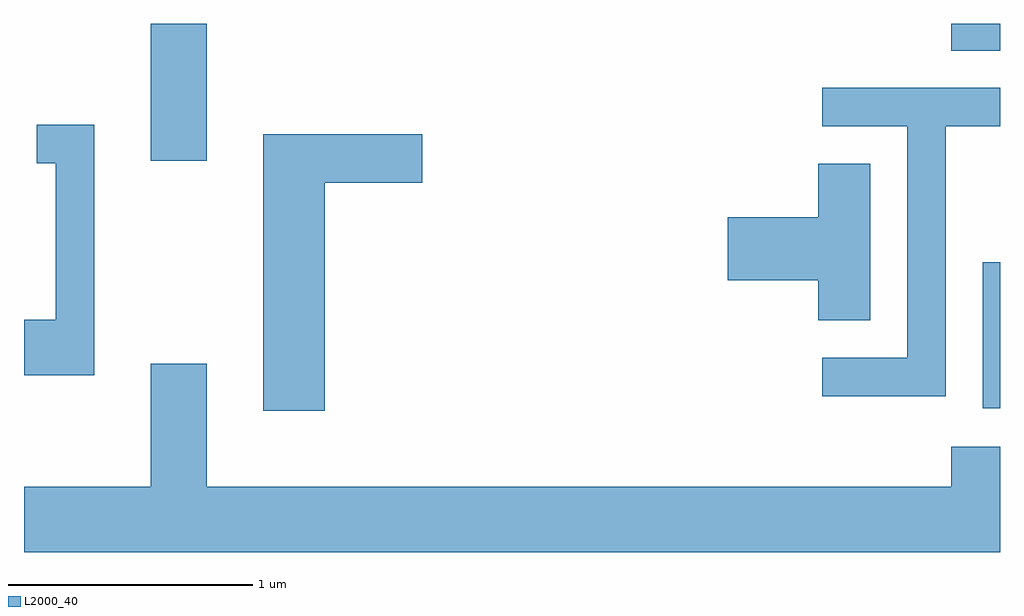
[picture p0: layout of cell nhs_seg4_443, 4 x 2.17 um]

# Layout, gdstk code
import gdstk
lib = gdstk.Library(unit=1e-6, precision=1e-09)
def R(c, l, rs):  # rectangles x0, y0, x1, y1
    for r in rs: c.add(gdstk.rectangle(r[:2], r[2:], *l))
def P(c, l, *ps):  # polygons
    for p in ps: c.add(gdstk.Polygon(p, *l))
L2000_40 = (2000, 40)

nhs_seg4_443 = lib.new_cell('nhs_seg4_443')
R(nhs_seg4_443, L2000_40, [(201.541,1326.406,201.611,1327.004), (198.131,1327.421,198.359,1327.982), (201.411,1327.871,201.611,1327.982)])
P(nhs_seg4_443, L2000_40, [(201.389,1327.561),(201.611,1327.561),(201.611,1327.719),(200.883,1327.719),(200.883,1327.561),(201.231,1327.561),(201.231,1326.614),(200.883,1326.614),(200.883,1326.456),(201.389,1326.456)],
  [(197.899,1327.569),(197.663,1327.569),(197.663,1327.411),(197.741,1327.411),(197.741,1326.769),(197.611,1326.769),(197.611,1326.541),(197.899,1326.541)],
  [(198.844,1327.331),(199.244,1327.331),(199.244,1327.529),(198.591,1327.529),(198.591,1326.396),(198.844,1326.396)],
  [(201.079,1327.409),(200.866,1327.409),(200.866,1327.189),(200.496,1327.189),(200.496,1326.931),(200.866,1326.931),(200.866,1326.766),(201.079,1326.766)],
  [(201.611,1326.249),(201.411,1326.249),(201.411,1326.084),(198.359,1326.084),(198.359,1326.589),(198.131,1326.589),(198.131,1326.084),(197.611,1326.084),(197.611,1325.816),(201.611,1325.816)])

lib.write_gds('nhs_seg4_443.gds')
